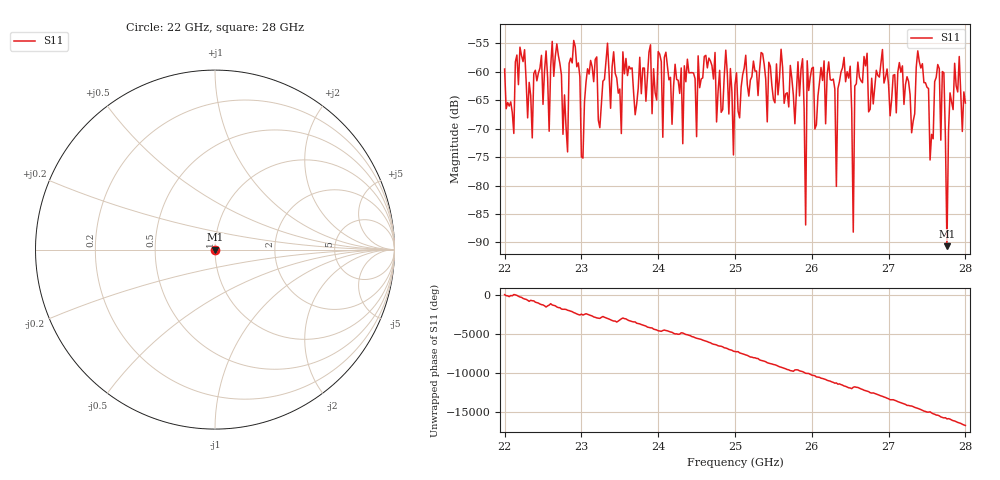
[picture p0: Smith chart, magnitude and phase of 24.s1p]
#  HZ  S  RI  R  50.00
! Rohde & Schwarz ZVA40 4Ports - Version 3.90 - 1145.1110k42 SN: 100403
! Date: 2023-10-04 11:37:07
! Measurement: S12
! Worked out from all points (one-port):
!   301 points, 22 GHz to 28 GHz, reference 50 ohm
!   lowest |S11| = -90.7 dB at 27.76 GHz (marker M1), VSWR 1.00, Z = 50 - j0.00206 ohm
!   |S11| at or under -10 dB: start of sweep to end of sweep
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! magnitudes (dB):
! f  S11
! 22 GHz  -59.5
! 22.36 GHz  -71.6
! 22.54 GHz  -56.3
! 22.58 GHz  -70.5
! 22.68 GHz  -55.1
! 22.76 GHz  -71.0
! 22.9 GHz  -54.5
! 23 GHz  -74.9
! 23.12 GHz  -58.0
! 23.5 GHz  -63.0
! 24.26 GHz  -61.5
! 25 GHz  -62.3
! 25.76 GHz  -64.1
! 25.88 GHz  -57.7
! 25.92 GHz  -86.9
! 25.94 GHz  -58.1
! 26.22 GHz  -58.3
! 26.32 GHz  -80.1
! 26.34 GHz  -62.9
! 26.5 GHz  -59.0
! 26.54 GHz  -88.2
! 26.6 GHz  -58.3
! 27.26 GHz  -61.7
! 27.54 GHz  -75.5
! 27.72 GHz  -60.2
! 27.76 GHz  -90.7
! 27.86 GHz  -58.5
! 28 GHz  -65.5
